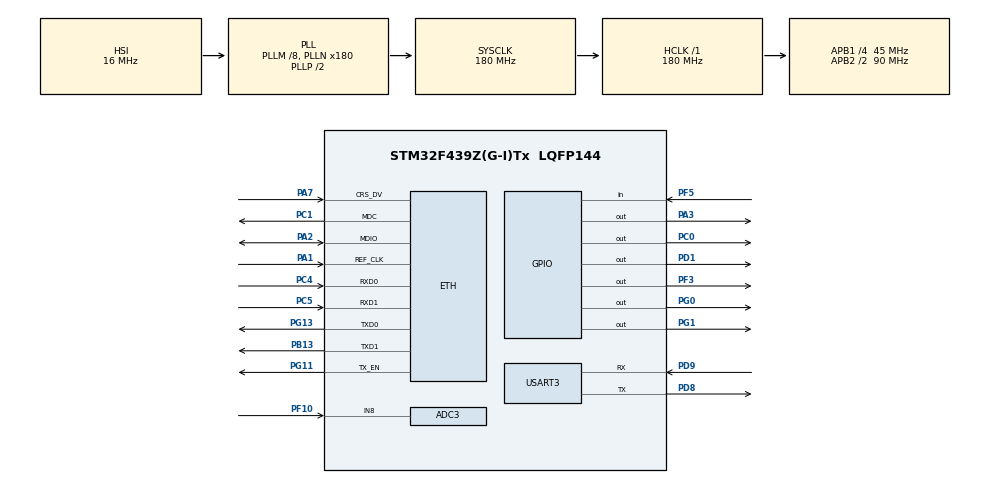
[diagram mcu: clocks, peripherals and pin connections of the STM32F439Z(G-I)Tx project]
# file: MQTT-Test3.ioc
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ADC3.Channel-0\#ChannelRegularConversion=ADC_CHANNEL_8
ADC3.NbrOfConversionFlag=1
ADC3.Rank-0\#ChannelRegularConversion=1
ADC3.SamplingTime-0\#ChannelRegularConversion=ADC_SAMPLETIME_144CYCLES
ETH.MediaInterface=HAL_ETH_RMII_MODE
LWIP.BSP.number=1
LWIP.IP_ADDRESS=192.168.000.010
LWIP.LWIP_DHCP=1
LWIP.NETMASK_ADDRESS=255.255.255.000
LWIP.Version=v2.1.2_Cube
LWIP0.BSP.STBoard=false
LWIP0.BSP.api=BSP_COMPONENT_DRIVER
LWIP0.BSP.component=LAN8742
LWIP0.BSP.instance=LAN8742
LWIP0.BSP.name=Driver_PHY
LWIP0.BSP.semaphore=S_LAN8742
LWIP0.BSP.solution=LAN8742
Mcu.Family=STM32F4
Mcu.Name=STM32F439Z(G-I)Tx
Mcu.Package=LQFP144
NVIC.ADC_IRQn=true\:0\:0\:false\:false\:true\:true\:true\:true
NVIC.ETH_IRQn=true\:0\:0\:false\:false\:true\:true\:true\:true
NVIC.PriorityGroup=NVIC_PRIORITYGROUP_4
PA1.Mode=RMII
PA1.Signal=ETH_REF_CLK
PA2.Mode=RMII
PA2.Signal=ETH_MDIO
PA3.Signal=GPIO_Output
PA7.Mode=RMII
PA7.Signal=ETH_CRS_DV
PD8.Mode=Asynchronous
PD8.Signal=USART3_TX
PD9.Mode=Asynchronous
PD9.Signal=USART3_RX
PB13.Mode=RMII
PB13.Signal=ETH_TXD1
PC0.Signal=GPIO_Output
PC1.Mode=RMII
PC1.Signal=ETH_MDC
PC4.Mode=RMII
PC4.Signal=ETH_RXD0
PC5.Mode=RMII
PC5.Signal=ETH_RXD1
PD1.Signal=GPIO_Output
PF10.Mode=IN8
PF10.Signal=ADC3_IN8
PF3.Signal=GPIO_Output
PF5.Signal=GPIO_Input
PG0.Signal=GPIO_Output
PG1.Signal=GPIO_Output
PG11.Mode=RMII
PG11.Signal=ETH_TX_EN
PG13.Mode=RMII
PG13.Signal=ETH_TXD0
PH0/OSC_IN.Mode=HSE-External-Clock-Source
PH0/OSC_IN.Signal=RCC_OSC_IN
PH1/OSC_OUT.Mode=HSE-External-Clock-Source
PH1/OSC_OUT.Signal=RCC_OSC_OUT
ProjectManager.HeapSize=0x200
ProjectManager.StackSize=0x400
ProjectManager.TargetToolchain=STM32CubeIDE
RCC.48MHZClocksFreq_Value=90000000
RCC.AHBFreq_Value=180000000
RCC.APB1CLKDivider=RCC_HCLK_DIV4
RCC.APB1Freq_Value=45000000
RCC.APB1TimFreq_Value=90000000
RCC.APB2CLKDivider=RCC_HCLK_DIV2
RCC.APB2Freq_Value=90000000
RCC.APB2TimFreq_Value=180000000
RCC.CortexFreq_Value=180000000
RCC.HCLKFreq_Value=180000000
RCC.HSE_VALUE=25000000
RCC.HSI_VALUE=16000000
RCC.LSE_VALUE=32768
RCC.PLLM=8
RCC.PLLN=180
RCC.SYSCLKFreq_VALUE=180000000
RCC.SYSCLKSource=RCC_SYSCLKSOURCE_PLLCLK
RCC.VCOOutputFreq_Value=360000000
USART3.VirtualMode=VM_ASYNC
VP_LWIP_VS_Enabled.Mode=Enabled
board=custom

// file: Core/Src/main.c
/* USER CODE BEGIN Header */
/**
  ******************************************************************************
  * @file           : main.c
  * @brief          : Main program body
  ******************************************************************************
  * @attention
  *
  * Copyright (c) 2026 STMicroelectronics.
  * All rights reserved.
  *
  * This software is licensed under terms that can be found in the LICENSE file
  * in the root directory of this software component.
  * If no LICENSE file comes with this software, it is provided AS-IS.
  *
  ******************************************************************************
  */
/* USER CODE END Header */
#include "main.h"
#include "lwip.h"

/* USER CODE BEGIN Includes */
#include "lwip/netif.h"
#include "lwip/ip_addr.h"
#include "ampel_mqtt.h"
#include "heartbeat.h"
#include "button.h"
#include "sensor.h"
#include <stdio.h>
/* USER CODE END Includes */

ADC_HandleTypeDef hadc3;

UART_HandleTypeDef huart3;

/* USER CODE BEGIN PV */
extern struct netif gnetif;
char current_topic[64];
/* USER CODE END PV */

void SystemClock_Config(void);
static void MX_GPIO_Init(void);
static void MX_ADC3_Init(void);
static void MX_USART3_UART_Init(void);

int main(void)
{

  /* MCU Configuration--------------------------------------------------------*/

  /* Reset of all peripherals, Initializes the Flash interface and the Systick. */
  HAL_Init();

  /* Configure the system clock */
  SystemClock_Config();

  /* Initialize all configured peripherals */
  MX_GPIO_Init();
  MX_LWIP_Init();
  MX_ADC3_Init();
  MX_USART3_UART_Init();
  /* USER CODE BEGIN 2 */
  while (!netif_is_link_up(&gnetif))
  {
      MX_LWIP_Process();
  }
  while (netif_ip4_addr(&gnetif)->addr == 0)
  {
      MX_LWIP_Process();
  }
  printf("IP: %s\n", ip4addr_ntoa(netif_ip4_addr(&gnetif)));

  Ampel_MQTT_Init();

  lastHeartbeatMaster = HAL_GetTick();
  lastHeartbeatA      = HAL_GetTick();
  lastHeartbeatC      = HAL_GetTick();
  /* USER CODE END 2 */

  /* Infinite loop */
  /* USER CODE BEGIN WHILE */
  static uint32_t last_blink = 0;
  while (1)
  {
      MX_LWIP_Process();

      Heartbeat_Send();
      Heartbeat_Monitor();

      Button_Update();
      Sensor_Update();

      if (idle || !mqtt_connected)
      {
          /* Notbetrieb: Fussgaengerampel aus */
          HAL_GPIO_WritePin(GPIOD, GPIO_PIN_1, GPIO_PIN_RESET);  // Fuss gruen aus
          HAL_GPIO_WritePin(GPIOG, GPIO_PIN_0, GPIO_PIN_RESET);  // Fuss rot aus

          /* Hauptampel: gruen + rot aus, gelb blinken */
          HAL_GPIO_WritePin(GPIOA, GPIO_PIN_3, GPIO_PIN_RESET);  // Haupt gruen aus
          HAL_GPIO_WritePin(GPIOF, GPIO_PIN_3, GPIO_PIN_RESET);  // Haupt rot aus
          HAL_GPIO_WritePin(GPIOG, GPIO_PIN_1, GPIO_PIN_RESET);  // Abbiege grün aus

          if (HAL_GetTick() - last_blink >= 250)                 // ~2 Hz
          {
              last_blink = HAL_GetTick();
              HAL_GPIO_TogglePin(GPIOC, GPIO_PIN_0);             // Haupt gelb blinken
          }
      }
      else
      {
          Sensor_Process();
          Button_Process();
      }
    /* USER CODE END WHILE */

  }
}

void SystemClock_Config(void)
{
  RCC_OscInitTypeDef RCC_OscInitStruct = {0};
  RCC_ClkInitTypeDef RCC_ClkInitStruct = {0};

  /** Configure the main internal regulator output voltage
  */
  __HAL_RCC_PWR_CLK_ENABLE();
  __HAL_PWR_VOLTAGESCALING_CONFIG(PWR_REGULATOR_VOLTAGE_SCALE1);

  /** Initializes the RCC Oscillators according to the specified parameters
  * in the RCC_OscInitTypeDef structure.
  */
  RCC_OscInitStruct.OscillatorType = RCC_OSCILLATORTYPE_HSI;
  RCC_OscInitStruct.HSIState = RCC_HSI_ON;
  RCC_OscInitStruct.HSICalibrationValue = RCC_HSICALIBRATION_DEFAULT;
  RCC_OscInitStruct.PLL.PLLState = RCC_PLL_ON;
  RCC_OscInitStruct.PLL.PLLSource = RCC_PLLSOURCE_HSI;
  RCC_OscInitStruct.PLL.PLLM = 8;
  RCC_OscInitStruct.PLL.PLLN = 180;
  RCC_OscInitStruct.PLL.PLLP = RCC_PLLP_DIV2;
  RCC_OscInitStruct.PLL.PLLQ = 4;
  if (HAL_RCC_OscConfig(&RCC_OscInitStruct) != HAL_OK)
  {
    Error_Handler();
  }

  /** Activate the Over-Drive mode
  */
  if (HAL_PWREx_EnableOverDrive() != HAL_OK)
  {
    Error_Handler();
  }

  /** Initializes the CPU, AHB and APB buses clocks
  */
  RCC_ClkInitStruct.ClockType = RCC_CLOCKTYPE_HCLK|RCC_CLOCKTYPE_SYSCLK
                              |RCC_CLOCKTYPE_PCLK1|RCC_CLOCKTYPE_PCLK2;
  RCC_ClkInitStruct.SYSCLKSource = RCC_SYSCLKSOURCE_PLLCLK;
  RCC_ClkInitStruct.AHBCLKDivider = RCC_SYSCLK_DIV1;
  RCC_ClkInitStruct.APB1CLKDivider = RCC_HCLK_DIV4;
  RCC_ClkInitStruct.APB2CLKDivider = RCC_HCLK_DIV2;

  if (HAL_RCC_ClockConfig(&RCC_ClkInitStruct, FLASH_LATENCY_5) != HAL_OK)
  {
    Error_Handler();
  }
}

static void MX_ADC3_Init(void)
{

  ADC_ChannelConfTypeDef sConfig = {0};

  /** Configure the global features of the ADC (Clock, Resolution, Data Alignment and number of conversion)
  */
  hadc3.Instance = ADC3;
  hadc3.Init.ClockPrescaler = ADC_CLOCK_SYNC_PCLK_DIV4;
  hadc3.Init.Resolution = ADC_RESOLUTION_12B;
  hadc3.Init.ScanConvMode = DISABLE;
  hadc3.Init.ContinuousConvMode = DISABLE;
  hadc3.Init.DiscontinuousConvMode = DISABLE;
  hadc3.Init.ExternalTrigConvEdge = ADC_EXTERNALTRIGCONVEDGE_NONE;
  hadc3.Init.ExternalTrigConv = ADC_SOFTWARE_START;
  hadc3.Init.DataAlign = ADC_DATAALIGN_RIGHT;
  hadc3.Init.NbrOfConversion = 1;
  hadc3.Init.DMAContinuousRequests = DISABLE;
  hadc3.Init.EOCSelection = ADC_EOC_SINGLE_CONV;
  if (HAL_ADC_Init(&hadc3) != HAL_OK)
  {
    Error_Handler();
  }

  /** Configure for the selected ADC regular channel its corresponding rank in the sequencer and its sample time.
  */
  sConfig.Channel = ADC_CHANNEL_8;
  sConfig.Rank = 1;
  sConfig.SamplingTime = ADC_SAMPLETIME_144CYCLES;
  if (HAL_ADC_ConfigChannel(&hadc3, &sConfig) != HAL_OK)
  {
    Error_Handler();
  }

}

static void MX_USART3_UART_Init(void)
{

  huart3.Instance = USART3;
  huart3.Init.BaudRate = 115200;
  huart3.Init.WordLength = UART_WORDLENGTH_8B;
  huart3.Init.StopBits = UART_STOPBITS_1;
  huart3.Init.Parity = UART_PARITY_NONE;
  huart3.Init.Mode = UART_MODE_TX_RX;
  huart3.Init.HwFlowCtl = UART_HWCONTROL_NONE;
  huart3.Init.OverSampling = UART_OVERSAMPLING_16;
  if (HAL_UART_Init(&huart3) != HAL_OK)
  {
    Error_Handler();
  }

}

static void MX_GPIO_Init(void)
{
  GPIO_InitTypeDef GPIO_InitStruct = {0};

  /* GPIO Ports Clock Enable */
  __HAL_RCC_GPIOF_CLK_ENABLE();
  __HAL_RCC_GPIOH_CLK_ENABLE();
  __HAL_RCC_GPIOC_CLK_ENABLE();
  __HAL_RCC_GPIOA_CLK_ENABLE();
  __HAL_RCC_GPIOG_CLK_ENABLE();
  __HAL_RCC_GPIOB_CLK_ENABLE();
  __HAL_RCC_GPIOD_CLK_ENABLE();

  /*Configure GPIO pin Output Level */
  HAL_GPIO_WritePin(GPIOF, GPIO_PIN_3, GPIO_PIN_RESET);

  /*Configure GPIO pin Output Level */
  HAL_GPIO_WritePin(GPIOC, GPIO_PIN_0, GPIO_PIN_RESET);

  /*Configure GPIO pin Output Level */
  HAL_GPIO_WritePin(GPIOA, GPIO_PIN_3, GPIO_PIN_RESET);

  /*Configure GPIO pin Output Level */
  HAL_GPIO_WritePin(GPIOG, GPIO_PIN_0|GPIO_PIN_1, GPIO_PIN_RESET);

  /*Configure GPIO pin Output Level */
  HAL_GPIO_WritePin(GPIOD, GPIO_PIN_1, GPIO_PIN_RESET);

  /*Configure GPIO pin : PF3 */
  GPIO_InitStruct.Pin = GPIO_PIN_3;
  GPIO_InitStruct.Mode = GPIO_MODE_OUTPUT_PP;
  GPIO_InitStruct.Pull = GPIO_NOPULL;
  GPIO_InitStruct.Speed = GPIO_SPEED_FREQ_LOW;
  HAL_GPIO_Init(GPIOF, &GPIO_InitStruct);

  /*Configure GPIO pin : PF5 */
  GPIO_InitStruct.Pin = GPIO_PIN_5;
  GPIO_InitStruct.Mode = GPIO_MODE_INPUT;
  GPIO_InitStruct.Pull = GPIO_NOPULL;
  HAL_GPIO_Init(GPIOF, &GPIO_InitStruct);

  /*Configure GPIO pin : PC0 */
  GPIO_InitStruct.Pin = GPIO_PIN_0;
  GPIO_InitStruct.Mode = GPIO_MODE_OUTPUT_PP;
  GPIO_InitStruct.Pull = GPIO_NOPULL;
  GPIO_InitStruct.Speed = GPIO_SPEED_FREQ_LOW;
  HAL_GPIO_Init(GPIOC, &GPIO_InitStruct);

  /*Configure GPIO pin : PA3 */
  GPIO_InitStruct.Pin = GPIO_PIN_3;
  GPIO_InitStruct.Mode = GPIO_MODE_OUTPUT_PP;
  GPIO_InitStruct.Pull = GPIO_NOPULL;
  GPIO_InitStruct.Speed = GPIO_SPEED_FREQ_LOW;
  HAL_GPIO_Init(GPIOA, &GPIO_InitStruct);

  /*Configure GPIO pins : PG0 PG1 */
  GPIO_InitStruct.Pin = GPIO_PIN_0|GPIO_PIN_1;
  GPIO_InitStruct.Mode = GPIO_MODE_OUTPUT_PP;
  GPIO_InitStruct.Pull = GPIO_NOPULL;
  GPIO_InitStruct.Speed = GPIO_SPEED_FREQ_LOW;
  HAL_GPIO_Init(GPIOG, &GPIO_InitStruct);

  /*Configure GPIO pin : PD1 */
  GPIO_InitStruct.Pin = GPIO_PIN_1;
  GPIO_InitStruct.Mode = GPIO_MODE_OUTPUT_PP;
  GPIO_InitStruct.Pull = GPIO_NOPULL;
  GPIO_InitStruct.Speed = GPIO_SPEED_FREQ_LOW;
  HAL_GPIO_Init(GPIOD, &GPIO_InitStruct);

}

/* USER CODE BEGIN 4 */
int __io_putchar(int ch)
{
    if (ch == '\n')
    {
        uint8_t cr = '\r';
        HAL_UART_Transmit(&huart3, &cr, 1, HAL_MAX_DELAY);
    }
    HAL_UART_Transmit(&huart3, (uint8_t *)&ch, 1, HAL_MAX_DELAY);
    return ch;
}
/* USER CODE END 4 */

void Error_Handler(void)
{
  __disable_irq();
  while (1)
  {
  }
}
